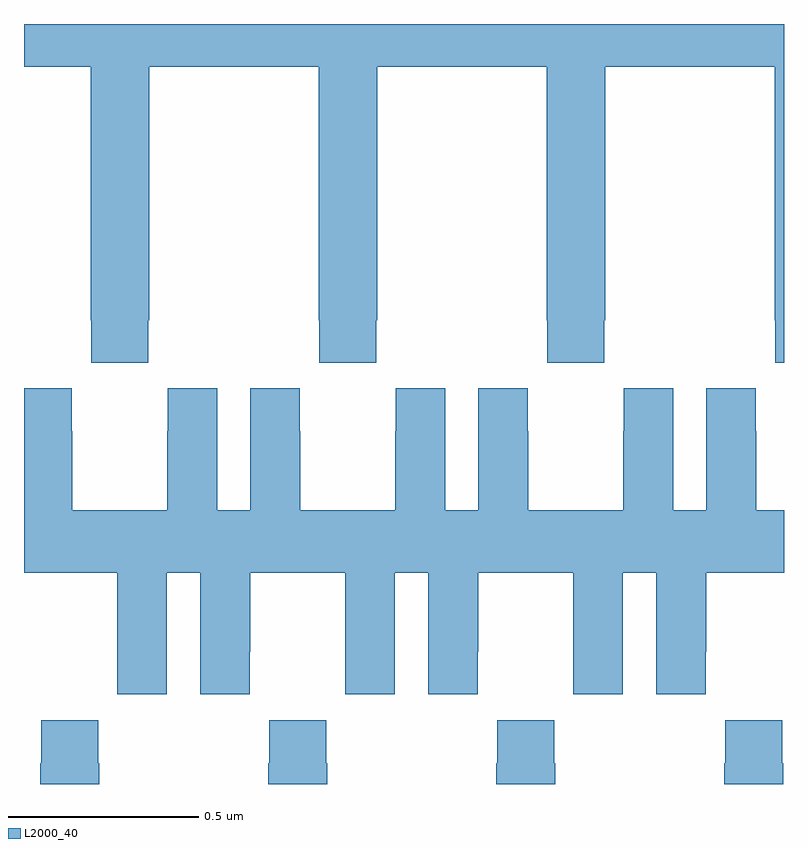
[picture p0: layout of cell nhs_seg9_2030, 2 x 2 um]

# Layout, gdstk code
import gdstk
lib = gdstk.Library(unit=1e-6, precision=1e-09)
def P(c, l, *ps):  # polygons
    for p in ps: c.add(gdstk.Polygon(p, *l))
L2000_40 = (2000, 40)

nhs_seg9_2030 = lib.new_cell('nhs_seg9_2030')
P(nhs_seg9_2030, L2000_40, [(135,1228.388),(135.175,1228.388),(135.175,1227.721),(135.177,1227.721),(135.177,1227.609),(135.327,1227.609),(135.327,1227.721),(135.33,1227.721),(135.33,1228.388),(135.775,1228.388),(135.775,1227.721),(135.777,1227.721),(135.777,1227.609),(135.927,1227.609),(135.927,1227.721),(135.93,1227.721),(135.93,1228.388),(136.375,1228.388),(136.375,1227.721),(136.377,1227.721),(136.377,1227.609),(136.527,1227.609),(136.527,1227.721),(136.53,1227.721),(136.53,1228.388),(136.975,1228.388),(136.975,1227.721),(136.977,1227.721),(136.977,1227.609),(137,1227.609),(137,1228.5),(135,1228.5)],
  [(135.376,1227.056),(135.464,1227.056),(135.464,1226.736),(135.594,1226.736),(135.594,1226.848),(135.595,1226.848),(135.595,1227.056),(135.845,1227.056),(135.845,1226.848),(135.846,1226.848),(135.846,1226.736),(135.976,1226.736),(135.976,1227.056),(136.064,1227.056),(136.064,1226.736),(136.194,1226.736),(136.194,1226.848),(136.195,1226.848),(136.195,1227.056),(136.445,1227.056),(136.445,1226.848),(136.446,1226.848),(136.446,1226.736),(136.576,1226.736),(136.576,1227.056),(136.664,1227.056),(136.664,1226.736),(136.794,1226.736),(136.794,1226.848),(136.795,1226.848),(136.795,1227.056),(137,1227.056),(137,1227.22),(136.927,1227.22),(136.927,1227.428),(136.926,1227.428),(136.926,1227.541),(136.796,1227.541),(136.796,1227.22),(136.708,1227.22),(136.708,1227.541),(136.578,1227.541),(136.578,1227.428),(136.577,1227.428),(136.577,1227.22),(136.327,1227.22),(136.327,1227.428),(136.326,1227.428),(136.326,1227.541),(136.196,1227.541),(136.196,1227.22),(136.108,1227.22),(136.108,1227.541),(135.978,1227.541),(135.978,1227.428),(135.977,1227.428),(135.977,1227.22),(135.727,1227.22),(135.727,1227.428),(135.726,1227.428),(135.726,1227.541),(135.596,1227.541),(135.596,1227.22),(135.508,1227.22),(135.508,1227.541),(135.378,1227.541),(135.378,1227.428),(135.377,1227.428),(135.377,1227.22),(135.127,1227.22),(135.127,1227.428),(135.126,1227.428),(135.126,1227.541),(135,1227.541),(135,1227.056),(135.245,1227.056),(135.245,1226.848),(135.246,1226.848),(135.246,1226.736),(135.376,1226.736)],
  [(135.045,1226.555),(135.043,1226.555),(135.043,1226.5),(135.198,1226.5),(135.198,1226.555),(135.195,1226.555),(135.195,1226.668),(135.045,1226.668)],
  [(135.798,1226.555),(135.795,1226.555),(135.795,1226.668),(135.645,1226.668),(135.645,1226.555),(135.643,1226.555),(135.643,1226.5),(135.798,1226.5)],
  [(136.398,1226.555),(136.395,1226.555),(136.395,1226.668),(136.245,1226.668),(136.245,1226.555),(136.243,1226.555),(136.243,1226.5),(136.398,1226.5)],
  [(136.998,1226.555),(136.995,1226.555),(136.995,1226.668),(136.845,1226.668),(136.845,1226.555),(136.843,1226.555),(136.843,1226.5),(136.998,1226.5)])

lib.write_gds('nhs_seg9_2030.gds')
